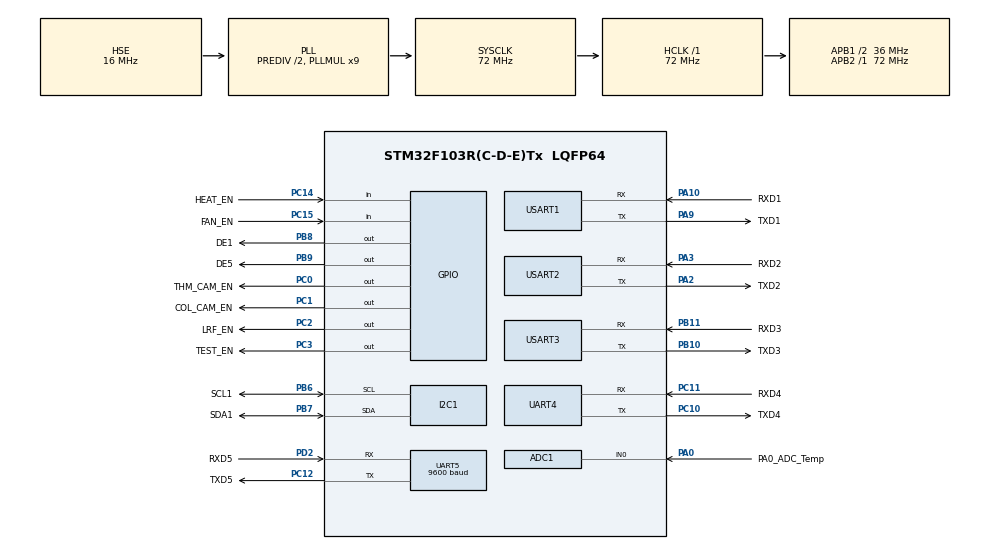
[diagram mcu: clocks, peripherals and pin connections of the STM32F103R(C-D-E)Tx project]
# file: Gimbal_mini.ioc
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ADC1.Channel-1\#ChannelRegularConversion=ADC_CHANNEL_0
ADC1.NbrOfConversionFlag=1
ADC1.Rank-1\#ChannelRegularConversion=1
ADC1.SamplingTime-1\#ChannelRegularConversion=ADC_SAMPLETIME_1CYCLE_5
ADC1.master=1
Mcu.Family=STM32F1
Mcu.Name=STM32F103R(C-D-E)Tx
Mcu.Package=LQFP64
NVIC.PriorityGroup=NVIC_PRIORITYGROUP_4
NVIC.TIM2_IRQn=true\:15\:0\:false\:false\:true\:false\:true\:true
NVIC.TimeBase=TIM2_IRQn
NVIC.TimeBaseIP=TIM2
NVIC.UART4_IRQn=true\:0\:0\:false\:false\:true\:true\:true\:true
NVIC.UART5_IRQn=true\:0\:0\:false\:false\:true\:true\:true\:true
NVIC.USART1_IRQn=true\:0\:0\:false\:false\:true\:true\:true\:true
NVIC.USART2_IRQn=true\:0\:0\:false\:false\:true\:true\:true\:true
NVIC.USART3_IRQn=true\:0\:0\:false\:false\:true\:true\:true\:true
PA0-WKUP.GPIO_Label=PA0_ADC_Temp
PA0-WKUP.Signal=ADCx_IN0
PA10.GPIO_Label=RXD1
PA10.Mode=Asynchronous
PA10.Signal=USART1_RX
PA13.Mode=Serial_Wire
PA13.Signal=SYS_JTMS-SWDIO
PA14.Mode=Serial_Wire
PA14.Signal=SYS_JTCK-SWCLK
PA2.GPIO_Label=TXD2
PA2.Mode=Asynchronous
PA2.Signal=USART2_TX
PA3.GPIO_Label=RXD2
PA3.Mode=Asynchronous
PA3.Signal=USART2_RX
PA9.GPIO_Label=TXD1
PA9.Mode=Asynchronous
PA9.Signal=USART1_TX
PB10.GPIO_Label=TXD3
PB10.Mode=Asynchronous
PB10.Signal=USART3_TX
PB11.GPIO_Label=RXD3
PB11.Mode=Asynchronous
PB11.Signal=USART3_RX
PB6.GPIO_Label=SCL1
PB6.Mode=I2C
PB6.Signal=I2C1_SCL
PB7.GPIO_Label=SDA1
PB7.Mode=I2C
PB7.Signal=I2C1_SDA
PB8.GPIO_Label=DE1
PB8.Signal=GPIO_Output
PB9.GPIO_Label=DE5
PB9.Signal=GPIO_Output
PC0.GPIO_Label=THM_CAM_EN
PC0.Signal=GPIO_Output
PC1.GPIO_Label=COL_CAM_EN
PC1.Signal=GPIO_Output
PC10.GPIO_Label=TXD4
PC10.Mode=Asynchronous
PC10.Signal=UART4_TX
PC11.GPIO_Label=RXD4
PC11.Mode=Asynchronous
PC11.Signal=UART4_RX
PC12.GPIO_Label=TXD5
PC12.Mode=Asynchronous
PC12.Signal=UART5_TX
PC14-OSC32_IN.GPIO_Label=HEAT_EN
PC14-OSC32_IN.Signal=GPIO_Input
PC15-OSC32_OUT.GPIO_Label=FAN_EN
PC15-OSC32_OUT.Signal=GPIO_Input
PC2.GPIO_Label=LRF_EN
PC2.Signal=GPIO_Output
PC3.GPIO_Label=TEST_EN
PC3.Signal=GPIO_Output
PD0-OSC_IN.Mode=HSE-External-Oscillator
PD0-OSC_IN.Signal=RCC_OSC_IN
PD1-OSC_OUT.Mode=HSE-External-Oscillator
PD1-OSC_OUT.Signal=RCC_OSC_OUT
PD2.GPIO_Label=RXD5
PD2.Mode=Asynchronous
PD2.Signal=UART5_RX
ProjectManager.HeapSize=0x200
ProjectManager.StackSize=0x400
ProjectManager.TargetToolchain=EWARM V8.32
RCC.ADCPresc=RCC_ADCPCLK2_DIV6
RCC.AHBFreq_Value=72000000
RCC.APB1CLKDivider=RCC_HCLK_DIV2
RCC.APB1Freq_Value=36000000
RCC.APB1TimFreq_Value=72000000
RCC.APB2Freq_Value=72000000
RCC.APB2TimFreq_Value=72000000
RCC.HCLKFreq_Value=72000000
RCC.HSEDivPLL=RCC_HSE_PREDIV_DIV2
RCC.HSE_VALUE=16000000
RCC.PLLMUL=RCC_PLL_MUL9
RCC.PLLSourceVirtual=RCC_PLLSOURCE_HSE
RCC.SYSCLKFreq_VALUE=72000000
RCC.SYSCLKSource=RCC_SYSCLKSOURCE_PLLCLK
RCC.USBFreq_Value=72000000
SH.ADCx_IN0.0=ADC1_IN0,IN0
UART4.VirtualMode=Asynchronous
UART5.BaudRate=9600
UART5.VirtualMode=Asynchronous
USART1.VirtualMode=VM_ASYNC
USART2.VirtualMode=VM_ASYNC
USART3.VirtualMode=VM_ASYNC
VP_SYS_VS_tim2.Mode=TIM2
board=custom

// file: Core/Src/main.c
/* USER CODE BEGIN Header */
/**
  ******************************************************************************
  * @file           : main.c
  * @brief          : Main program body
  ******************************************************************************
  * @attention
  *
  * Copyright (c) 2024 STMicroelectronics.
  * All rights reserved.
  *
  * This software is licensed under terms that can be found in the LICENSE file
  * in the root directory of this software component.
  * If no LICENSE file comes with this software, it is provided AS-IS.
  *
  ******************************************************************************
  */
/* USER CODE END Header */
#include "main.h"

/* USER CODE BEGIN Includes */

#include "stdio.h"
#include "Define.h"
#include "main_function.h"

/* USER CODE END Includes */

/* USER CODE BEGIN PM */
u8 uart2_rx_buffer[UART2_BUFFER_SIZE];
int uart2_rx_index = 0;
int receptionStart = 0;

u8 uart2_eo_rx_buffer[UART2_EO_BUFFER_SIZE];
/* USER CODE END PM */

ADC_HandleTypeDef hadc1;

I2C_HandleTypeDef hi2c1;

UART_HandleTypeDef huart4;
UART_HandleTypeDef huart5;
UART_HandleTypeDef huart1;
UART_HandleTypeDef huart2;
UART_HandleTypeDef huart3;

void SystemClock_Config(void);

static void MX_GPIO_Init(void);

static void MX_ADC1_Init(void);

static void MX_I2C1_Init(void);

static void MX_UART4_Init(void);

static void MX_UART5_Init(void);

static void MX_USART1_UART_Init(void);

static void MX_USART3_UART_Init(void);

static void MX_USART2_UART_Init(void);
/* USER CODE BEGIN PFP */
# define PUTCHAR_PROTOTYPE int fputc(int ch, FILE *f)

/* USER CODE END PFP */

/* USER CODE BEGIN 0 */
PUTCHAR_PROTOTYPE {
    HAL_UART_Transmit(&huart2, (uint8_t * ) & ch, 1, 0xFFFF);
    return ch;
}
/* USER CODE END 0 */

int main(void) {

    /* MCU Configuration--------------------------------------------------------*/

    /* Reset of all peripherals, Initializes the Flash interface and the Systick. */
    HAL_Init();

    /* Configure the system clock */
    SystemClock_Config();

    /* Initialize all configured peripherals */
    MX_GPIO_Init();
    MX_ADC1_Init();
    MX_I2C1_Init();
    MX_UART4_Init();
    MX_UART5_Init();
    MX_USART1_UART_Init();
    MX_USART3_UART_Init();
    MX_USART2_UART_Init();
    /* USER CODE BEGIN 2 */
    HAL_GPIO_WritePin(THM_CAM_EN_GPIO_Port, THM_CAM_EN_Pin, 1);
    HAL_GPIO_WritePin(COL_CAM_EN_GPIO_Port, COL_CAM_EN_Pin, 1);

    /* USER CODE END 2 */

    /* Infinite loop */
    /* USER CODE BEGIN WHILE */
    while (1) {
        HAL_UART_Receive_IT(&huart2, &uart2_rx_buffer[uart2_rx_index], 1);

        /* USER CODE END WHILE */

    }
}

void SystemClock_Config(void) {
    RCC_OscInitTypeDef RCC_OscInitStruct = {0};
    RCC_ClkInitTypeDef RCC_ClkInitStruct = {0};
    RCC_PeriphCLKInitTypeDef PeriphClkInit = {0};

    /** Initializes the RCC Oscillators according to the specified parameters
    * in the RCC_OscInitTypeDef structure.
    */
    RCC_OscInitStruct.OscillatorType = RCC_OSCILLATORTYPE_HSE;
    RCC_OscInitStruct.HSEState = RCC_HSE_ON;
    RCC_OscInitStruct.HSEPredivValue = RCC_HSE_PREDIV_DIV2;
    RCC_OscInitStruct.HSIState = RCC_HSI_ON;
    RCC_OscInitStruct.PLL.PLLState = RCC_PLL_ON;
    RCC_OscInitStruct.PLL.PLLSource = RCC_PLLSOURCE_HSE;
    RCC_OscInitStruct.PLL.PLLMUL = RCC_PLL_MUL9;
    if (HAL_RCC_OscConfig(&RCC_OscInitStruct) != HAL_OK) {
        Error_Handler();
    }

    /** Initializes the CPU, AHB and APB buses clocks
    */
    RCC_ClkInitStruct.ClockType = RCC_CLOCKTYPE_HCLK | RCC_CLOCKTYPE_SYSCLK
                                  | RCC_CLOCKTYPE_PCLK1 | RCC_CLOCKTYPE_PCLK2;
    RCC_ClkInitStruct.SYSCLKSource = RCC_SYSCLKSOURCE_PLLCLK;
    RCC_ClkInitStruct.AHBCLKDivider = RCC_SYSCLK_DIV1;
    RCC_ClkInitStruct.APB1CLKDivider = RCC_HCLK_DIV2;
    RCC_ClkInitStruct.APB2CLKDivider = RCC_HCLK_DIV1;

    if (HAL_RCC_ClockConfig(&RCC_ClkInitStruct, FLASH_LATENCY_2) != HAL_OK) {
        Error_Handler();
    }
    PeriphClkInit.PeriphClockSelection = RCC_PERIPHCLK_ADC;
    PeriphClkInit.AdcClockSelection = RCC_ADCPCLK2_DIV6;
    if (HAL_RCCEx_PeriphCLKConfig(&PeriphClkInit) != HAL_OK) {
        Error_Handler();
    }
}

static void MX_ADC1_Init(void) {

    ADC_ChannelConfTypeDef sConfig = {0};

    /** Common config
    */
    hadc1.Instance = ADC1;
    hadc1.Init.ScanConvMode = ADC_SCAN_DISABLE;
    hadc1.Init.ContinuousConvMode = DISABLE;
    hadc1.Init.DiscontinuousConvMode = DISABLE;
    hadc1.Init.ExternalTrigConv = ADC_SOFTWARE_START;
    hadc1.Init.DataAlign = ADC_DATAALIGN_RIGHT;
    hadc1.Init.NbrOfConversion = 1;
    if (HAL_ADC_Init(&hadc1) != HAL_OK) {
        Error_Handler();
    }

    /** Configure Regular Channel
    */
    sConfig.Channel = ADC_CHANNEL_0;
    sConfig.Rank = ADC_REGULAR_RANK_1;
    sConfig.SamplingTime = ADC_SAMPLETIME_1CYCLE_5;
    if (HAL_ADC_ConfigChannel(&hadc1, &sConfig) != HAL_OK) {
        Error_Handler();
    }

}

static void MX_I2C1_Init(void) {

    hi2c1.Instance = I2C1;
    hi2c1.Init.ClockSpeed = 100000;
    hi2c1.Init.DutyCycle = I2C_DUTYCYCLE_2;
    hi2c1.Init.OwnAddress1 = 0;
    hi2c1.Init.AddressingMode = I2C_ADDRESSINGMODE_7BIT;
    hi2c1.Init.DualAddressMode = I2C_DUALADDRESS_DISABLE;
    hi2c1.Init.OwnAddress2 = 0;
    hi2c1.Init.GeneralCallMode = I2C_GENERALCALL_DISABLE;
    hi2c1.Init.NoStretchMode = I2C_NOSTRETCH_DISABLE;
    if (HAL_I2C_Init(&hi2c1) != HAL_OK) {
        Error_Handler();
    }

}

static void MX_UART4_Init(void) {

    huart4.Instance = UART4;
    huart4.Init.BaudRate = 115200;
    huart4.Init.WordLength = UART_WORDLENGTH_8B;
    huart4.Init.StopBits = UART_STOPBITS_1;
    huart4.Init.Parity = UART_PARITY_NONE;
    huart4.Init.Mode = UART_MODE_TX_RX;
    huart4.Init.HwFlowCtl = UART_HWCONTROL_NONE;
    huart4.Init.OverSampling = UART_OVERSAMPLING_16;
    if (HAL_UART_Init(&huart4) != HAL_OK) {
        Error_Handler();
    }

}

static void MX_UART5_Init(void) {

    huart5.Instance = UART5;
    huart5.Init.BaudRate = 9600;
    huart5.Init.WordLength = UART_WORDLENGTH_8B;
    huart5.Init.StopBits = UART_STOPBITS_1;
    huart5.Init.Parity = UART_PARITY_NONE;
    huart5.Init.Mode = UART_MODE_TX_RX;
    huart5.Init.HwFlowCtl = UART_HWCONTROL_NONE;
    huart5.Init.OverSampling = UART_OVERSAMPLING_16;
    if (HAL_UART_Init(&huart5) != HAL_OK) {
        Error_Handler();
    }

}

static void MX_USART1_UART_Init(void) {

    huart1.Instance = USART1;
    huart1.Init.BaudRate = 115200;
    huart1.Init.WordLength = UART_WORDLENGTH_8B;
    huart1.Init.StopBits = UART_STOPBITS_1;
    huart1.Init.Parity = UART_PARITY_NONE;
    huart1.Init.Mode = UART_MODE_TX_RX;
    huart1.Init.HwFlowCtl = UART_HWCONTROL_NONE;
    huart1.Init.OverSampling = UART_OVERSAMPLING_16;
    if (HAL_UART_Init(&huart1) != HAL_OK) {
        Error_Handler();
    }

}

static void MX_USART2_UART_Init(void) {

    huart2.Instance = USART2;
    huart2.Init.BaudRate = 115200;
    huart2.Init.WordLength = UART_WORDLENGTH_8B;
    huart2.Init.StopBits = UART_STOPBITS_1;
    huart2.Init.Parity = UART_PARITY_NONE;
    huart2.Init.Mode = UART_MODE_TX_RX;
    huart2.Init.HwFlowCtl = UART_HWCONTROL_NONE;
    huart2.Init.OverSampling = UART_OVERSAMPLING_16;
    if (HAL_UART_Init(&huart2) != HAL_OK) {
        Error_Handler();
    }

}

static void MX_USART3_UART_Init(void) {

    huart3.Instance = USART3;
    huart3.Init.BaudRate = 115200;
    huart3.Init.WordLength = UART_WORDLENGTH_8B;
    huart3.Init.StopBits = UART_STOPBITS_1;
    huart3.Init.Parity = UART_PARITY_NONE;
    huart3.Init.Mode = UART_MODE_TX_RX;
    huart3.Init.HwFlowCtl = UART_HWCONTROL_NONE;
    huart3.Init.OverSampling = UART_OVERSAMPLING_16;
    if (HAL_UART_Init(&huart3) != HAL_OK) {
        Error_Handler();
    }

}

static void MX_GPIO_Init(void) {
    GPIO_InitTypeDef GPIO_InitStruct = {0};

    /* GPIO Ports Clock Enable */
    __HAL_RCC_GPIOC_CLK_ENABLE();
    __HAL_RCC_GPIOD_CLK_ENABLE();
    __HAL_RCC_GPIOA_CLK_ENABLE();
    __HAL_RCC_GPIOB_CLK_ENABLE();

    /*Configure GPIO pin Output Level */
    HAL_GPIO_WritePin(GPIOC, THM_CAM_EN_Pin | COL_CAM_EN_Pin | LRF_EN_Pin | TEST_EN_Pin, GPIO_PIN_RESET);

    /*Configure GPIO pin Output Level */
    HAL_GPIO_WritePin(GPIOB, DE1_Pin | DE5_Pin, GPIO_PIN_RESET);

    /*Configure GPIO pins : HEAT_EN_Pin FAN_EN_Pin */
    GPIO_InitStruct.Pin = HEAT_EN_Pin | FAN_EN_Pin;
    GPIO_InitStruct.Mode = GPIO_MODE_INPUT;
    GPIO_InitStruct.Pull = GPIO_NOPULL;
    HAL_GPIO_Init(GPIOC, &GPIO_InitStruct);

    /*Configure GPIO pins : THM_CAM_EN_Pin COL_CAM_EN_Pin LRF_EN_Pin TEST_EN_Pin */
    GPIO_InitStruct.Pin = THM_CAM_EN_Pin | COL_CAM_EN_Pin | LRF_EN_Pin | TEST_EN_Pin;
    GPIO_InitStruct.Mode = GPIO_MODE_OUTPUT_PP;
    GPIO_InitStruct.Pull = GPIO_NOPULL;
    GPIO_InitStruct.Speed = GPIO_SPEED_FREQ_LOW;
    HAL_GPIO_Init(GPIOC, &GPIO_InitStruct);

    /*Configure GPIO pins : DE1_Pin DE5_Pin */
    GPIO_InitStruct.Pin = DE1_Pin | DE5_Pin;
    GPIO_InitStruct.Mode = GPIO_MODE_OUTPUT_PP;
    GPIO_InitStruct.Pull = GPIO_NOPULL;
    GPIO_InitStruct.Speed = GPIO_SPEED_FREQ_LOW;
    HAL_GPIO_Init(GPIOB, &GPIO_InitStruct);

}

/* USER CODE BEGIN 4 */
void HAL_UART_RxCpltCallback(UART_HandleTypeDef *huart) {
    if (huart->Instance == USART2) {
        u8 receivedData = huart->Instance->DR;
        check_byte_cmd(receivedData, &huart2, &huart5, &huart4);

//        uart2_rx_buffer[uart2_rx_index] = huart->Instance->DR;
//        if (uart2_rx_index == UART2_BUFFER_SIZE - 1) {
//            HAL_UART_Transmit_IT(&huart5, uart2_rx_buffer, UART2_BUFFER_SIZE);
//            HAL_UART_Transmit_IT(&huart2, uart2_rx_buffer, UART2_BUFFER_SIZE);
//            uart2_rx_index = 0;
//        }
    }
//    uart2_rx_index++;
//    HAL_UART_Receive_IT(&huart2, &uart2_rx_buffer[uart2_rx_index], 1);

}
/* USER CODE END 4 */

void HAL_TIM_PeriodElapsedCallback(TIM_HandleTypeDef *htim) {
    if (htim->Instance == TIM2) {
        HAL_IncTick();
    }
}

void Error_Handler(void) {
    __disable_irq();
    while (1) {
    }
}
